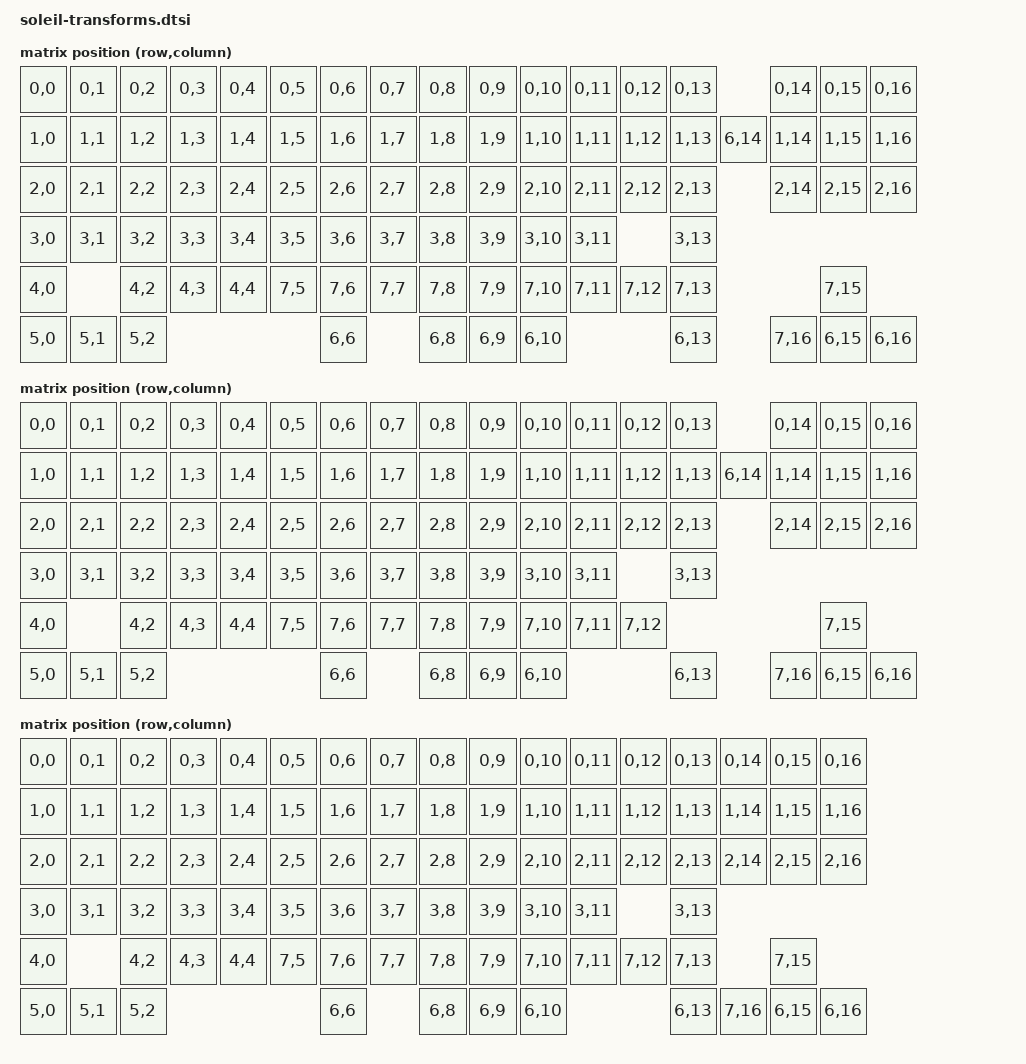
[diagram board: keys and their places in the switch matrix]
/*
 * Copyright (c) 2025 CannonKeys LLC
 *
 * SPDX-License-Identifier: MIT
 */
#include <dt-bindings/zmk/matrix_transform.h>

/ {
	ansi_splitbs_splitrsh_transform: ansi_splitbs_splitrsh_transform {
		compatible = "zmk,matrix-transform";
		columns = <17>;
		rows = <8>;
		map = <
			RC(0, 0) RC(0, 1) RC(0, 2) RC(0, 3) RC(0, 4) RC(0, 5) RC(0, 6) RC(0, 7) RC(0, 8) RC(0, 9) RC(0,10) RC(0,11) RC(0,12) RC(0,13)          RC(0,14) RC(0,15) RC(0,16)
			RC(1, 0) RC(1, 1) RC(1, 2) RC(1, 3) RC(1, 4) RC(1, 5) RC(1, 6) RC(1, 7) RC(1, 8) RC(1, 9) RC(1,10) RC(1,11) RC(1,12) RC(1,13) RC(6,14) RC(1,14) RC(1,15) RC(1,16)
			RC(2, 0) RC(2, 1) RC(2, 2) RC(2, 3) RC(2, 4) RC(2, 5) RC(2, 6) RC(2, 7) RC(2, 8) RC(2, 9) RC(2,10) RC(2,11) RC(2,12) RC(2,13)          RC(2,14) RC(2,15) RC(2,16)
			RC(3, 0) RC(3, 1) RC(3, 2) RC(3, 3) RC(3, 4) RC(3, 5) RC(3, 6) RC(3, 7) RC(3, 8) RC(3, 9) RC(3,10) RC(3,11)          RC(3,13)       
			RC(4, 0)          RC(4, 2) RC(4, 3) RC(4, 4) RC(7, 5) RC(7, 6) RC(7, 7) RC(7, 8) RC(7, 9) RC(7,10) RC(7,11) RC(7,12) RC(7,13)                   RC(7,15)
			RC(5, 0) RC(5, 1) RC(5, 2)                            RC(6, 6)          RC(6, 8) RC(6, 9) RC(6,10)                   RC(6,13)          RC(7,16) RC(6,15) RC(6,16)
			>;
	};

    ansi_splitbs_transform: ansi_splitbs_transform {
		compatible = "zmk,matrix-transform";
		columns = <17>;
		rows = <8>;
		map = <
			RC(0, 0) RC(0, 1) RC(0, 2) RC(0, 3) RC(0, 4) RC(0, 5) RC(0, 6) RC(0, 7) RC(0, 8) RC(0, 9) RC(0,10) RC(0,11) RC(0,12) RC(0,13)          RC(0,14) RC(0,15) RC(0,16)
			RC(1, 0) RC(1, 1) RC(1, 2) RC(1, 3) RC(1, 4) RC(1, 5) RC(1, 6) RC(1, 7) RC(1, 8) RC(1, 9) RC(1,10) RC(1,11) RC(1,12) RC(1,13) RC(6,14) RC(1,14) RC(1,15) RC(1,16)
			RC(2, 0) RC(2, 1) RC(2, 2) RC(2, 3) RC(2, 4) RC(2, 5) RC(2, 6) RC(2, 7) RC(2, 8) RC(2, 9) RC(2,10) RC(2,11) RC(2,12) RC(2,13)          RC(2,14) RC(2,15) RC(2,16)
			RC(3, 0) RC(3, 1) RC(3, 2) RC(3, 3) RC(3, 4) RC(3, 5) RC(3, 6) RC(3, 7) RC(3, 8) RC(3, 9) RC(3,10) RC(3,11)          RC(3,13)       
			RC(4, 0)          RC(4, 2) RC(4, 3) RC(4, 4) RC(7, 5) RC(7, 6) RC(7, 7) RC(7, 8) RC(7, 9) RC(7,10) RC(7,11) RC(7,12)                            RC(7,15)
			RC(5, 0) RC(5, 1) RC(5, 2)                            RC(6, 6)          RC(6, 8) RC(6, 9) RC(6,10)                   RC(6,13)          RC(7,16) RC(6,15) RC(6,16)
			>;
	};

    ansi_splitrsh_transform: ansi_splitrsh_transform {
		compatible = "zmk,matrix-transform";
		columns = <17>;
		rows = <8>;
		map = <
			RC(0, 0) RC(0, 1) RC(0, 2) RC(0, 3) RC(0, 4) RC(0, 5) RC(0, 6) RC(0, 7) RC(0, 8) RC(0, 9) RC(0,10) RC(0,11) RC(0,12) RC(0,13)          RC(0,14) RC(0,15) RC(0,16)
			RC(1, 0) RC(1, 1) RC(1, 2) RC(1, 3) RC(1, 4) RC(1, 5) RC(1, 6) RC(1, 7) RC(1, 8) RC(1, 9) RC(1,10) RC(1,11) RC(1,12) RC(1,13)          RC(1,14) RC(1,15) RC(1,16)
			RC(2, 0) RC(2, 1) RC(2, 2) RC(2, 3) RC(2, 4) RC(2, 5) RC(2, 6) RC(2, 7) RC(2, 8) RC(2, 9) RC(2,10) RC(2,11) RC(2,12) RC(2,13)          RC(2,14) RC(2,15) RC(2,16)
			RC(3, 0) RC(3, 1) RC(3, 2) RC(3, 3) RC(3, 4) RC(3, 5) RC(3, 6) RC(3, 7) RC(3, 8) RC(3, 9) RC(3,10) RC(3,11)          RC(3,13)       
			RC(4, 0)          RC(4, 2) RC(4, 3) RC(4, 4) RC(7, 5) RC(7, 6) RC(7, 7) RC(7, 8) RC(7, 9) RC(7,10) RC(7,11) RC(7,12) RC(7,13)                   RC(7,15)
			RC(5, 0) RC(5, 1) RC(5, 2)                            RC(6, 6)          RC(6, 8) RC(6, 9) RC(6,10)                   RC(6,13)          RC(7,16) RC(6,15) RC(6,16)
			>;
	};

    ansi_default_transform: ansi_default_transform {
		compatible = "zmk,matrix-transform";
		columns = <17>;
		rows = <8>;
		map = <
			RC(0, 0) RC(0, 1) RC(0, 2) RC(0, 3) RC(0, 4) RC(0, 5) RC(0, 6) RC(0, 7) RC(0, 8) RC(0, 9) RC(0,10) RC(0,11) RC(0,12) RC(0,13)          RC(0,14) RC(0,15) RC(0,16)
			RC(1, 0) RC(1, 1) RC(1, 2) RC(1, 3) RC(1, 4) RC(1, 5) RC(1, 6) RC(1, 7) RC(1, 8) RC(1, 9) RC(1,10) RC(1,11) RC(1,12) RC(1,13)          RC(1,14) RC(1,15) RC(1,16)
			RC(2, 0) RC(2, 1) RC(2, 2) RC(2, 3) RC(2, 4) RC(2, 5) RC(2, 6) RC(2, 7) RC(2, 8) RC(2, 9) RC(2,10) RC(2,11) RC(2,12) RC(2,13)          RC(2,14) RC(2,15) RC(2,16)
			RC(3, 0) RC(3, 1) RC(3, 2) RC(3, 3) RC(3, 4) RC(3, 5) RC(3, 6) RC(3, 7) RC(3, 8) RC(3, 9) RC(3,10) RC(3,11)          RC(3,13)       
			RC(4, 0)          RC(4, 2) RC(4, 3) RC(4, 4) RC(7, 5) RC(7, 6) RC(7, 7) RC(7, 8) RC(7, 9) RC(7,10) RC(7,11) RC(7,12)                            RC(7,15)
			RC(5, 0) RC(5, 1) RC(5, 2)                            RC(6, 6)          RC(6, 8) RC(6, 9) RC(6,10)                   RC(6,13)          RC(7,16) RC(6,15) RC(6,16)
			>;
	};

    tkl_7u_splitbs_splitrsh_transform: tkl_7u_splitbs_splitrsh_transform {
		compatible = "zmk,matrix-transform";
		columns = <17>;
		rows = <8>;
		map = <
			RC(0, 0) RC(0, 1) RC(0, 2) RC(0, 3) RC(0, 4) RC(0, 5) RC(0, 6) RC(0, 7) RC(0, 8) RC(0, 9) RC(0,10) RC(0,11) RC(0,12) RC(0,13)          RC(0,14) RC(0,15) RC(0,16)
			RC(1, 0) RC(1, 1) RC(1, 2) RC(1, 3) RC(1, 4) RC(1, 5) RC(1, 6) RC(1, 7) RC(1, 8) RC(1, 9) RC(1,10) RC(1,11) RC(1,12) RC(1,13) RC(6,14) RC(1,14) RC(1,15) RC(1,16)
			RC(2, 0) RC(2, 1) RC(2, 2) RC(2, 3) RC(2, 4) RC(2, 5) RC(2, 6) RC(2, 7) RC(2, 8) RC(2, 9) RC(2,10) RC(2,11) RC(2,12) RC(2,13)          RC(2,14) RC(2,15) RC(2,16)
			RC(3, 0) RC(3, 1) RC(3, 2) RC(3, 3) RC(3, 4) RC(3, 5) RC(3, 6) RC(3, 7) RC(3, 8) RC(3, 9) RC(3,10) RC(3,11)          RC(3,13)       
			RC(4, 0)          RC(4, 2) RC(4, 3) RC(4, 4) RC(7, 5) RC(7, 6) RC(7, 7) RC(7, 8) RC(7, 9) RC(7,10) RC(7,11) RC(7,12) RC(7,13)                   RC(7,15)
			RC(5, 0) RC(5, 1) RC(5, 2)                            RC(6, 6)                   RC(6, 9) RC(6,10)                   RC(6,13)          RC(7,16) RC(6,15) RC(6,16)
			>;
	};

    tkl_7u_splitrsh_transform: tkl_7u_splitrsh_transform {
		compatible = "zmk,matrix-transform";
		columns = <17>;
		rows = <8>;
		map = <
			RC(0, 0) RC(0, 1) RC(0, 2) RC(0, 3) RC(0, 4) RC(0, 5) RC(0, 6) RC(0, 7) RC(0, 8) RC(0, 9) RC(0,10) RC(0,11) RC(0,12) RC(0,13)          RC(0,14) RC(0,15) RC(0,16)
			RC(1, 0) RC(1, 1) RC(1, 2) RC(1, 3) RC(1, 4) RC(1, 5) RC(1, 6) RC(1, 7) RC(1, 8) RC(1, 9) RC(1,10) RC(1,11) RC(1,12) RC(1,13)          RC(1,14) RC(1,15) RC(1,16)
			RC(2, 0) RC(2, 1) RC(2, 2) RC(2, 3) RC(2, 4) RC(2, 5) RC(2, 6) RC(2, 7) RC(2, 8) RC(2, 9) RC(2,10) RC(2,11) RC(2,12) RC(2,13)          RC(2,14) RC(2,15) RC(2,16)
			RC(3, 0) RC(3, 1) RC(3, 2) RC(3, 3) RC(3, 4) RC(3, 5) RC(3, 6) RC(3, 7) RC(3, 8) RC(3, 9) RC(3,10) RC(3,11)          RC(3,13)       
			RC(4, 0)          RC(4, 2) RC(4, 3) RC(4, 4) RC(7, 5) RC(7, 6) RC(7, 7) RC(7, 8) RC(7, 9) RC(7,10) RC(7,11) RC(7,12) RC(7,13)                   RC(7,15)
			RC(5, 0) RC(5, 1) RC(5, 2)                            RC(6, 6)                   RC(6, 9) RC(6,10)                   RC(6,13)          RC(7,16) RC(6,15) RC(6,16)
			>;
	};
};
